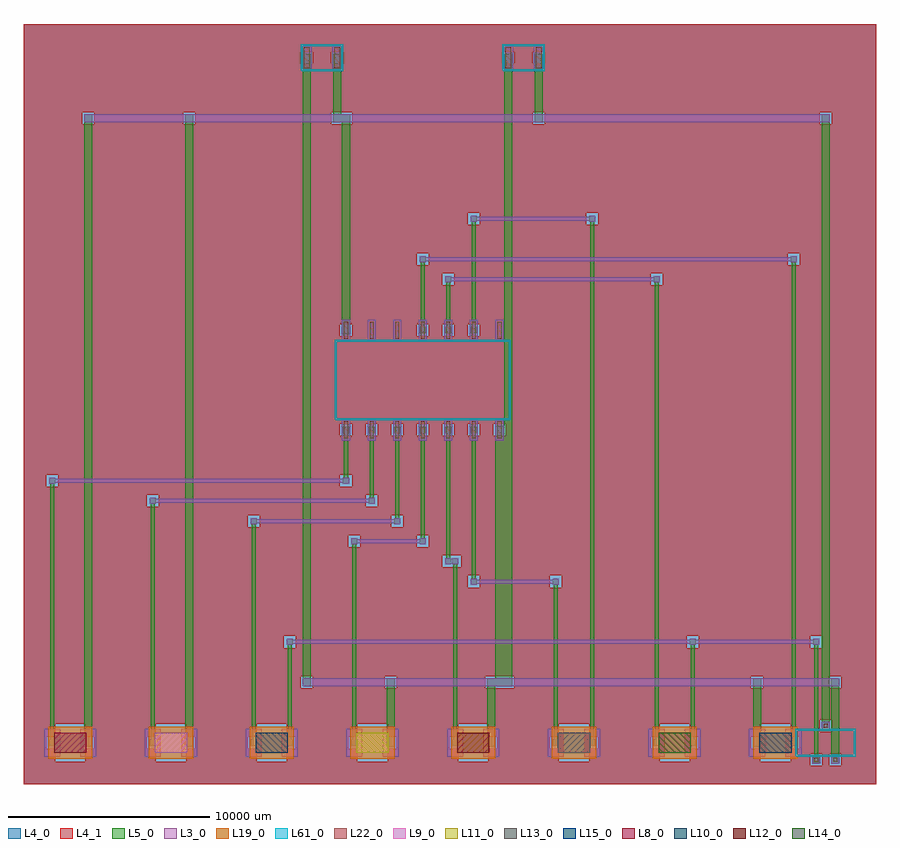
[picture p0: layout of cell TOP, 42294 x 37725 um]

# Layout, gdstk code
import gdstk
lib = gdstk.Library(unit=1e-6, precision=1e-09)
def R(c, l, rs):  # rectangles x0, y0, x1, y1
    for r in rs: c.add(gdstk.rectangle(r[:2], r[2:], *l))
def A(c, l, x, y, w, h, nx, ny, dx, dy):  # array of equal rectangles
    R(c, l, [(x+i*dx, y+j*dy, x+i*dx+w, y+j*dy+h) for i in range(nx) for j in range(ny)])
def P(c, l, *ps):  # polygons
    for p in ps: c.add(gdstk.Polygon(p, *l))
L3_0 = (3, 0)
L4_0 = (4, 0)
L4_1 = (4, 1)
L5_0 = (5, 0)
L8_0 = (8, 0)
L9_0 = (9, 0)
L10_0 = (10, 0)
L11_0 = (11, 0)
L12_0 = (12, 0)
L13_0 = (13, 0)
L14_0 = (14, 0)
L15_0 = (15, 0)
L19_0 = (19, 0)
L22_0 = (22, 0)
L61_0 = (61, 0)

ic_soic14 = lib.new_cell('IC_SOIC14')
A(ic_soic14, L3_0, -4010, -3000, 400, 1050, 7, 2, 1270, 4950)
A(ic_soic14, L22_0, -3910, -2900, 200, 850, 7, 2, 1270, 4950)
ic_soic14.add(gdstk.FlexPath([(-4325,-1950),(4325,-1950),(4325,1950),(-4325,1950),(-4325,-1950)], 100, ends="flush", simple_path=True, layer=61, datatype=0))  # L61_0

t_sot23 = lib.new_cell('T_SOT23')
R(t_sot23, L3_0, [(-675,-1050,-275,-650), (275,-1050,675,-650), (-200,650,200,1050)])
R(t_sot23, L22_0, [(-575,-950,-375,-750), (375,-950,575,-750), (-100,750,100,950)])
t_sot23.add(gdstk.FlexPath([(-1450,-650),(1450,-650),(1450,650),(-1450,650),(-1450,-650)], 100, ends="flush", simple_path=True, layer=61, datatype=0))  # L61_0

c_0805 = lib.new_cell('C_0805')
R(c_0805, L3_0, [(-1000,-625,-500,625), (500,-625,1000,625)])
R(c_0805, L22_0, [(-900,-525,-600,525), (600,-525,900,525)])
c_0805.add(gdstk.FlexPath([(-1000,-625),(1000,-625),(1000,625),(-1000,625),(-1000,-625)], 100, ends="flush", simple_path=True, layer=61, datatype=0))  # L61_0

c_r1 = lib.new_cell('R1')
R(c_r1, L3_0, [(-1294,-700,-494,700), (494,-700,1294,700)])
R(c_r1, L4_0, [(-594,-800,594,800)])
R(c_r1, L8_0, [(-794,-500,794,500)])
R(c_r1, L19_0, [(-1094,-800,1094,800)])
c_r1.add(gdstk.Label('R1', (-240,-200), layer=62, texttype=0))

c_r2 = lib.new_cell('R2')
R(c_r2, L3_0, [(-1306,-700,-506,700), (506,-700,1306,700)])
R(c_r2, L4_0, [(-606,-800,606,800)])
R(c_r2, L9_0, [(-806,-500,806,500)])
R(c_r2, L19_0, [(-1106,-800,1106,800)])
c_r2.add(gdstk.Label('R2', (-240,-200), layer=62, texttype=0))

c_r3 = lib.new_cell('R3')
R(c_r3, L3_0, [(-1294,-700,-494,700), (494,-700,1294,700)])
R(c_r3, L4_0, [(-594,-800,594,800)])
R(c_r3, L10_0, [(-794,-500,794,500)])
R(c_r3, L19_0, [(-1094,-800,1094,800)])
c_r3.add(gdstk.Label('R3', (-240,-200), layer=62, texttype=0))

c_r4 = lib.new_cell('R4')
R(c_r4, L3_0, [(-1306,-700,-506,700), (506,-700,1306,700)])
R(c_r4, L4_0, [(-606,-800,606,800)])
R(c_r4, L11_0, [(-806,-500,806,500)])
R(c_r4, L19_0, [(-1106,-800,1106,800)])
c_r4.add(gdstk.Label('R4', (-240,-200), layer=62, texttype=0))

c_r5 = lib.new_cell('R5')
R(c_r5, L3_0, [(-1294,-700,-494,700), (494,-700,1294,700)])
R(c_r5, L4_0, [(-594,-800,594,800)])
R(c_r5, L12_0, [(-794,-500,794,500)])
R(c_r5, L19_0, [(-1094,-800,1094,800)])
c_r5.add(gdstk.Label('R5', (-240,-200), layer=62, texttype=0))

c_r6 = lib.new_cell('R6')
R(c_r6, L3_0, [(-1306,-700,-506,700), (506,-700,1306,700)])
R(c_r6, L4_0, [(-606,-800,606,800)])
R(c_r6, L13_0, [(-806,-500,806,500)])
R(c_r6, L19_0, [(-1106,-800,1106,800)])
c_r6.add(gdstk.Label('R6', (-240,-200), layer=62, texttype=0))

c_r7 = lib.new_cell('R7')
R(c_r7, L3_0, [(-1294,-700,-494,700), (494,-700,1294,700)])
R(c_r7, L4_0, [(-594,-800,594,800)])
R(c_r7, L14_0, [(-794,-500,794,500)])
R(c_r7, L19_0, [(-1094,-800,1094,800)])
c_r7.add(gdstk.Label('R7', (-240,-200), layer=62, texttype=0))

c_r8 = lib.new_cell('R8')
R(c_r8, L3_0, [(-1306,-700,-506,700), (506,-700,1306,700)])
R(c_r8, L4_0, [(-606,-800,606,800)])
R(c_r8, L15_0, [(-806,-500,806,500)])
R(c_r8, L19_0, [(-1106,-800,1106,800)])
c_r8.add(gdstk.Label('R8', (-240,-200), layer=62, texttype=0))

top = lib.new_cell('TOP')
A(top, L3_0, -3960, -2625, 300, 300, 7, 1, 1270, 0)
A(top, L3_0, -150, 2325, 300, 300, 3, 1, 1270, 0)
R(top, L3_0, [(19375,-19000,19675,-18700), (20325,-19000,20625,-18700), (-18544,-18150,-18244,-17850), (-16756,-18150,-16456,-17850), (-13556,-18150,-13256,-17850), (-11744,-18150,-11444,-17850), (-8544,-18150,-8244,-17850), (-6756,-18150,-6456,-17850), (-3556,-18150,-3256,-17850), (-1744,-18150,-1444,-17850), (1456,-18150,1756,-17850), (3244,-18150,3544,-17850), (6444,-18150,6744,-17850), (8256,-18150,8556,-17850), (11456,-18150,11756,-17850), (13244,-18150,13544,-17850), (16444,-18150,16744,-17850), (18256,-18150,18556,-17850), (19850,-17300,20150,-17000), (-5900,-15150,-5600,-14850), (-1744,-15150,-1444,-14850), (3244,-15150,3544,-14850), (3660,-15150,3960,-14850), (4100,-15150,4400,-14850), (16444,-15150,16744,-14850), (20325,-15150,20625,-14850), (-6756,-13150,-6456,-12850), (13244,-13150,13544,-12850), (19375,-13150,19675,-12850), (2390,-10150,2690,-9850), (6444,-10150,6744,-9850), (1120,-9150,1420,-8850), (1456,-9150,1756,-8850), (-3556,-8150,-3256,-7850), (-150,-8150,150,-7850), (-8544,-7150,-8244,-6850), (-1420,-7150,-1120,-6850), (-13556,-6150,-13256,-5850), (-2690,-6150,-2390,-5850), (-18544,-5150,-18244,-4850), (-3960,-5150,-3660,-4850), (-3960,2325,-3660,2625), (1120,4850,1420,5150), (11456,4850,11756,5150), (-150,5850,150,6150), (18256,5850,18556,6150), (2390,7850,2690,8150), (8256,7850,8556,8150), (-16756,12850,-16456,13150), (-11744,12850,-11444,13150), (-4400,12850,-4100,13150), (-3960,12850,-3660,13150), (5600,12850,5900,13150), (19850,12850,20150,13150), (-5900,15850,-5600,16150), (-4400,15850,-4100,16150), (4100,15850,4400,16150), (5600,15850,5900,16150)])
A(top, L4_0, -3960, -2625, 300, 300, 7, 1, 1270, 0)
A(top, L4_0, -150, 2325, 300, 300, 3, 1, 1270, 0)
R(top, L4_0, [(-19794,-20050,22500,17675), (19375,-19000,19675,-18700), (20325,-19000,20625,-18700), (-18544,-18150,-18244,-17850), (-16756,-18150,-16456,-17850), (-13556,-18150,-13256,-17850), (-11744,-18150,-11444,-17850), (-8544,-18150,-8244,-17850), (-6756,-18150,-6456,-17850), (-3556,-18150,-3256,-17850), (-1744,-18150,-1444,-17850), (1456,-18150,1756,-17850), (3244,-18150,3544,-17850), (6444,-18150,6744,-17850), (8256,-18150,8556,-17850), (11456,-18150,11756,-17850), (13244,-18150,13544,-17850), (16444,-18150,16744,-17850), (18256,-18150,18556,-17850), (19850,-17300,20150,-17000), (-5900,-15150,-5600,-14850), (-1744,-15150,-1444,-14850), (3244,-15150,3544,-14850), (3660,-15150,3960,-14850), (4100,-15150,4400,-14850), (16444,-15150,16744,-14850), (20325,-15150,20625,-14850), (-6756,-13150,-6456,-12850), (13244,-13150,13544,-12850), (19375,-13150,19675,-12850), (2390,-10150,2690,-9850), (6444,-10150,6744,-9850), (1120,-9150,1420,-8850), (1456,-9150,1756,-8850), (-3556,-8150,-3256,-7850), (-150,-8150,150,-7850), (-8544,-7150,-8244,-6850), (-1420,-7150,-1120,-6850), (-13556,-6150,-13256,-5850), (-2690,-6150,-2390,-5850), (-18544,-5150,-18244,-4850), (-3960,-5150,-3660,-4850), (-3960,2325,-3660,2625), (1120,4850,1420,5150), (11456,4850,11756,5150), (-150,5850,150,6150), (18256,5850,18556,6150), (2390,7850,2690,8150), (8256,7850,8556,8150), (-16756,12850,-16456,13150), (-11744,12850,-11444,13150), (-4400,12850,-4100,13150), (-3960,12850,-3660,13150), (5600,12850,5900,13150), (19850,12850,20150,13150), (-5900,15850,-5600,16150), (-4400,15850,-4100,16150), (4100,15850,4400,16150), (5600,15850,5900,16150)])
R(top, L4_1, [(21178,-20050,22500,-18871), (18256,-18871,18535,-18300), (21178,-18871,22500,-17692), (-6756,-17700,-6577,-17692), (18256,-17700,18535,-17692), (-6577,-17692,-3934,-15334), (-1290,-17692,1353,-15334), (-19794,-15334,-14507,-10619), (-14507,-15334,-9220,-10619), (-5255,-15334,-3934,-14155), (-3934,-15334,-2612,-14155), (-2612,-15334,-1951,-14745), (-1290,-15334,1353,-12977), (6640,-15334,11926,-10619), (14570,-15334,15892,-14155), (21178,-15334,22500,-14155), (-2612,-14745,-1951,-14155), (-5255,-14155,-3934,-12977), (-3934,-14155,-2612,-12977), (-2612,-14155,-1290,-12977), (14570,-14155,15892,-12977), (15892,-14155,17213,-12977), (19857,-14155,21178,-12977), (21178,-14155,22500,-12977), (-3934,-12977,-1290,-10619), (-1290,-12977,1353,-10619), (1353,-12977,3996,-10619), (3996,-12977,6640,-10619), (14570,-12977,17213,-10619), (19857,-12977,22500,-10619), (-19794,-10619,-14507,-5903), (-9220,-10619,-6577,-8261), (-6577,-10619,-3934,-8261), (11926,-10619,22500,-1188), (2675,-9440,3996,-8261), (-7899,-8261,-6577,-7082), (-6577,-8261,-3934,-5903), (1353,-8261,3996,-5903), (3996,-8261,6640,-5903), (-7899,-7082,-6577,-5903), (-17151,-5903,-14507,-3545), (-1290,-5903,1353,-3545), (1353,-5903,3996,-3545), (3996,-5903,6640,-3545), (6640,-5903,11926,-1188), (-19794,-3545,-17151,-1188), (-17151,-3545,-14507,-1188), (-19794,-1188,-9220,8244), (-3934,-1188,-1290,1170), (-1290,-1188,1353,1170), (1353,-1188,3996,1170), (3996,-1188,6640,1170), (6640,-1188,11926,3528), (11926,-1188,17213,3528), (17213,-1188,22500,3528), (3996,1170,6640,3528), (-9220,3528,-3934,8244), (-3934,3528,-1290,5886), (6640,3528,9283,5886), (9283,3528,10605,4707), (11926,3528,17213,8244), (19857,3528,22500,5886), (9283,4707,10605,5886), (-3934,5886,-1290,8244), (9283,5886,11926,8244), (19857,5886,22500,8244), (11926,8244,17213,12959), (-9220,12959,-6577,15317), (1353,12959,3996,15317), (6640,12959,11926,17675), (11926,12959,17213,17675), (-9220,15317,-6577,17675), (-5255,15317,-4595,15907), (-5255,15907,-4595,16496), (-6577,16496,-5255,17675), (-5255,16496,-3934,17675), (3996,16496,5318,17675), (5318,16496,6640,17675)])
P(top, L4_1, [(-19794,-17692),(-18244,-17692),(-18244,-17700),(-18694,-17700),(-18694,-18300),(-18244,-18300),(-18244,-18950),(-17151,-18950),(-17151,-20050),(-19794,-20050)],
  [(-14507,-20050),(-17151,-20050),(-17151,-18950),(-16756,-18950),(-16756,-18300),(-16306,-18300),(-16306,-17700),(-16756,-17700),(-16756,-17692),(-14507,-17692)],
  [(-19794,-15334),(-17151,-15334),(-17151,-17050),(-18244,-17050),(-18244,-17692),(-19794,-17692)],
  [(-14507,-15334),(-14507,-17692),(-16756,-17692),(-16756,-17050),(-17151,-17050),(-17151,-15334)],
  [(-14507,-20050),(-14507,-17692),(-13256,-17692),(-13256,-17700),(-13706,-17700),(-13706,-18300),(-13256,-18300),(-13256,-18950),(-11864,-18950),(-11864,-20050)],
  [(-11864,-20050),(-11864,-18950),(-11744,-18950),(-11744,-18300),(-11294,-18300),(-11294,-17700),(-11744,-17700),(-11744,-17692),(-9220,-17692),(-9220,-20050)],
  [(-14507,-15334),(-11864,-15334),(-11864,-17050),(-13256,-17050),(-13256,-17692),(-14507,-17692)],
  [(-9220,-15334),(-9220,-17692),(-11744,-17692),(-11744,-17050),(-11864,-17050),(-11864,-15334)],
  [(-9220,-17692),(-8244,-17692),(-8244,-17700),(-8694,-17700),(-8694,-18300),(-8244,-18300),(-8244,-18950),(-6756,-18950),(-6756,-18300),(-6577,-18300),(-6577,-20050),(-9220,-20050)],
  [(-3934,-20050),(-6577,-20050),(-6577,-18300),(-6306,-18300),(-6306,-17700),(-6577,-17700),(-6577,-17692),(-3934,-17692)],
  [(-9220,-15334),(-6577,-15334),(-6577,-17692),(-6756,-17692),(-6756,-17050),(-8244,-17050),(-8244,-17692),(-9220,-17692)],
  [(-3934,-20050),(-3934,-17692),(-3256,-17692),(-3256,-17700),(-3706,-17700),(-3706,-18300),(-3256,-18300),(-3256,-18950),(-1744,-18950),(-1744,-18300),(-1294,-18300),(-1294,-17700),(-1744,-17700),(-1744,-17692),(-1290,-17692),(-1290,-20050)],
  [(1306,-18300),(1353,-18300),(1353,-20050),(-1290,-20050),(-1290,-17692),(1353,-17692),(1353,-17700),(1306,-17700)],
  [(-3934,-15334),(-1290,-15334),(-1290,-17692),(-1744,-17692),(-1744,-17050),(-3256,-17050),(-3256,-17692),(-3934,-17692)],
  [(-9220,-15334),(-9220,-12977),(-6906,-12977),(-6906,-13300),(-6577,-13300),(-6577,-15334)],
  [(-6577,-14745),(-6050,-14745),(-6050,-15300),(-5916,-15300),(-5916,-15334),(-6577,-15334)],
  [(-5255,-15334),(-5916,-15334),(-5916,-15300),(-5450,-15300),(-5450,-14745),(-5255,-14745)],
  [(-6577,-14155),(-5916,-14155),(-5916,-14700),(-6050,-14700),(-6050,-14745),(-6577,-14745)],
  [(-5255,-14155),(-5255,-14745),(-5450,-14745),(-5450,-14700),(-5916,-14700),(-5916,-14155)],
  [(-6577,-13300),(-6306,-13300),(-6306,-12977),(-5255,-12977),(-5255,-14155),(-6577,-14155)],
  [(-6577,-10619),(-6577,-12700),(-6906,-12700),(-6906,-12977),(-9220,-12977),(-9220,-10619)],
  [(-3934,-10619),(-3934,-12977),(-6306,-12977),(-6306,-12700),(-6577,-12700),(-6577,-10619)],
  [(-1951,-15334),(-1951,-14745),(-1894,-14745),(-1894,-15300),(-1294,-15300),(-1294,-14745),(-1290,-14745),(-1290,-15334)],
  [(-1290,-14155),(-1290,-14745),(-1294,-14745),(-1294,-14700),(-1894,-14700),(-1894,-14745),(-1951,-14745),(-1951,-14155)],
  [(-9220,-10619),(-14507,-10619),(-14507,-5903),(-13706,-5903),(-13706,-6300),(-13106,-6300),(-13106,-5903),(-9220,-5903)],
  [(-19794,-4724),(-18694,-4724),(-18694,-5300),(-18472,-5300),(-18472,-5903),(-19794,-5903)],
  [(-17151,-5903),(-18472,-5903),(-18472,-5300),(-18094,-5300),(-18094,-4724),(-17151,-4724)],
  [(-19794,-3545),(-18472,-3545),(-18472,-4700),(-18694,-4700),(-18694,-4724),(-19794,-4724)],
  [(-17151,-3545),(-17151,-4724),(-18094,-4724),(-18094,-4700),(-18472,-4700),(-18472,-3545)],
  [(-9220,-1188),(-9220,-5903),(-13106,-5903),(-13106,-5700),(-13706,-5700),(-13706,-5903),(-14507,-5903),(-14507,-1188)],
  [(-9220,-8261),(-9220,-7082),(-8694,-7082),(-8694,-7300),(-8094,-7300),(-8094,-7082),(-7899,-7082),(-7899,-8261)],
  [(-7899,-5903),(-7899,-7082),(-8094,-7082),(-8094,-6700),(-8694,-6700),(-8694,-7082),(-9220,-7082),(-9220,-5903)],
  [(-3934,-10619),(-3934,-8261),(-3706,-8261),(-3706,-8300),(-3106,-8300),(-3106,-8261),(-1290,-8261),(-1290,-10619)],
  [(1306,-8700),(970,-8700),(970,-9300),(1306,-9300),(1353,-9300),(1353,-10619),(-1290,-10619),(-1290,-8261),(-300,-8261),(-300,-8300),(300,-8300),(300,-8261),(1353,-8261),(1353,-8700)],
  [(-3934,-5903),(-2840,-5903),(-2840,-6300),(-2240,-6300),(-2240,-5903),(-1290,-5903),(-1290,-6700),(-1570,-6700),(-1570,-7300),(-1290,-7300),(-1290,-8261),(-3106,-8261),(-3106,-7700),(-3706,-7700),(-3706,-8261),(-3934,-8261)],
  [(1353,-5903),(1353,-8261),(300,-8261),(300,-7700),(-300,-7700),(-300,-8261),(-1290,-8261),(-1290,-7300),(-970,-7300),(-970,-6700),(-1290,-6700),(-1290,-5903)],
  [(-9220,-1188),(-3934,-1188),(-3934,-2175),(-4110,-2175),(-4110,-2775),(-3934,-2775),(-3934,-4700),(-4110,-4700),(-4110,-5300),(-3934,-5300),(-3934,-5903),(-9220,-5903)],
  [(-2240,-5903),(-2240,-5700),(-2840,-5700),(-2840,-5903),(-3934,-5903),(-3934,-5300),(-3510,-5300),(-3510,-4700),(-3934,-4700),(-3934,-3545),(-1290,-3545),(-1290,-5903)],
  [(-3510,-2775),(-3510,-2366),(-2840,-2366),(-2840,-2775),(-2612,-2775),(-2612,-3545),(-3934,-3545),(-3934,-2775)],
  [(-1570,-2775),(-1290,-2775),(-1290,-3545),(-2612,-3545),(-2612,-2775),(-2240,-2775),(-2240,-2366),(-1570,-2366)],
  [(-3510,-2175),(-3934,-2175),(-3934,-1188),(-2612,-1188),(-2612,-2175),(-2840,-2175),(-2840,-2366),(-3510,-2366)],
  [(-1290,-1188),(-1290,-2175),(-1570,-2175),(-1570,-2366),(-2240,-2366),(-2240,-2175),(-2612,-2175),(-2612,-1188)],
  [(-1290,-3545),(-1290,-2775),(-970,-2775),(-970,-2366),(-300,-2366),(-300,-2775),(31,-2775),(31,-3545)],
  [(970,-2775),(1353,-2775),(1353,-3545),(31,-3545),(31,-2775),(300,-2775),(300,-2366),(970,-2366)],
  [(-970,-2175),(-1290,-2175),(-1290,-1188),(31,-1188),(31,-2175),(-300,-2175),(-300,-2366),(-970,-2366)],
  [(970,-2366),(300,-2366),(300,-2175),(31,-2175),(31,-1188),(1353,-1188),(1353,-2175),(970,-2175)],
  [(1353,-18300),(1756,-18300),(1756,-18950),(3244,-18950),(3244,-18300),(3694,-18300),(3694,-17700),(3244,-17700),(3244,-17050),(1756,-17050),(1756,-17700),(1353,-17700),(1353,-15334),(6640,-15334),(6640,-17700),(6294,-17700),(6294,-18300),(6640,-18300),(6640,-20050),(1353,-20050)],
  [(11926,-17050),(11756,-17050),(11756,-17700),(11306,-17700),(11306,-18300),(11756,-18300),(11756,-18950),(11926,-18950),(11926,-20050),(6640,-20050),(6640,-18300),(6744,-18300),(6744,-18950),(8256,-18950),(8256,-18300),(8706,-18300),(8706,-17700),(8256,-17700),(8256,-17050),(6744,-17050),(6744,-17700),(6640,-17700),(6640,-15334),(11926,-15334)],
  [(1353,-15334),(1353,-12977),(3996,-12977),(3996,-14700),(3950,-14700),(3694,-14700),(3510,-14700),(3094,-14700),(3094,-15300),(3510,-15300),(3694,-15300),(3950,-15300),(3996,-15300),(3996,-15334)],
  [(6640,-15334),(3996,-15334),(3996,-15300),(4110,-15300),(4550,-15300),(4550,-14700),(4110,-14700),(3996,-14700),(3996,-12977),(6640,-12977)],
  [(11926,-18950),(13244,-18950),(13244,-18300),(13694,-18300),(13694,-17700),(13244,-17700),(13244,-17050),(11926,-17050),(11926,-15334),(17213,-15334),(17213,-17050),(16744,-17050),(16744,-17700),(16294,-17700),(16294,-18300),(16744,-18300),(16744,-18950),(17213,-18950),(17213,-20050),(11926,-20050)],
  [(17213,-18950),(18256,-18950),(18256,-18871),(18535,-18871),(18535,-20050),(17213,-20050)],
  [(19857,-20050),(18535,-20050),(18535,-18871),(19225,-18871),(19225,-19150),(19825,-19150),(19825,-18871),(19857,-18871)],
  [(18706,-18300),(18706,-17700),(18535,-17700),(18535,-17692),(19857,-17692),(19857,-18871),(19825,-18871),(19825,-18550),(19225,-18550),(19225,-18871),(18535,-18871),(18535,-18300)],
  [(19857,-18871),(20175,-18871),(20175,-19150),(20775,-19150),(20775,-18871),(21178,-18871),(21178,-20050),(19857,-20050)],
  [(19857,-17692),(21178,-17692),(21178,-18871),(20775,-18871),(20775,-18550),(20175,-18550),(20175,-18871),(19857,-18871)],
  [(18256,-17050),(17213,-17050),(17213,-15334),(19857,-15334),(19857,-16850),(19700,-16850),(19700,-17450),(19857,-17450),(19857,-17692),(18256,-17692)],
  [(22500,-15334),(22500,-17692),(19857,-17692),(19857,-17450),(20300,-17450),(20300,-16850),(19857,-16850),(19857,-15334)],
  [(11926,-15334),(11926,-12977),(13094,-12977),(13094,-13300),(13694,-13300),(13694,-12977),(14570,-12977),(14570,-15334)],
  [(15892,-14745),(16294,-14745),(16294,-15300),(16552,-15300),(16552,-15334),(15892,-15334)],
  [(17213,-15334),(16552,-15334),(16552,-15300),(16894,-15300),(16894,-14745),(17213,-14745)],
  [(15892,-14155),(16552,-14155),(16552,-14700),(16294,-14700),(16294,-14745),(15892,-14745)],
  [(17213,-14155),(17213,-14745),(16894,-14745),(16894,-14700),(16552,-14700),(16552,-14155)],
  [(14570,-10619),(14570,-12977),(13694,-12977),(13694,-12700),(13094,-12700),(13094,-12977),(11926,-12977),(11926,-10619)],
  [(17213,-15334),(17213,-12977),(19225,-12977),(19225,-13300),(19825,-13300),(19825,-12977),(19857,-12977),(19857,-15334)],
  [(19857,-14745),(20175,-14745),(20175,-15300),(20517,-15300),(20517,-15334),(19857,-15334)],
  [(21178,-15334),(20517,-15334),(20517,-15300),(20775,-15300),(20775,-14745),(21178,-14745)],
  [(19857,-14155),(20517,-14155),(20517,-14700),(20175,-14700),(20175,-14745),(19857,-14745)],
  [(21178,-14155),(21178,-14745),(20775,-14745),(20775,-14700),(20517,-14700),(20517,-14155)],
  [(17213,-10619),(19857,-10619),(19857,-12977),(19825,-12977),(19825,-12700),(19225,-12700),(19225,-12977),(17213,-12977)],
  [(1353,-10619),(1353,-9440),(2675,-9440),(2675,-9700),(2240,-9700),(2240,-10300),(2675,-10300),(2675,-10619)],
  [(3996,-10619),(2675,-10619),(2675,-10300),(2840,-10300),(2840,-9700),(2675,-9700),(2675,-9440),(3996,-9440)],
  [(1906,-8700),(1570,-8700),(1353,-8700),(1353,-8261),(2675,-8261),(2675,-9440),(1353,-9440),(1353,-9300),(1570,-9300),(1906,-9300)],
  [(6640,-9700),(6294,-9700),(6294,-10300),(6640,-10300),(6640,-10619),(3996,-10619),(3996,-8261),(6640,-8261)],
  [(11926,-10619),(6640,-10619),(6640,-10300),(6894,-10300),(6894,-9700),(6640,-9700),(6640,-5903),(11926,-5903)],
  [(1570,-2366),(2240,-2366),(2240,-2775),(2675,-2775),(2675,-3545),(1353,-3545),(1353,-2775),(1570,-2775)],
  [(3510,-2775),(3996,-2775),(3996,-3545),(2675,-3545),(2675,-2775),(2840,-2775),(2840,-2366),(3510,-2366)],
  [(1570,-2175),(1353,-2175),(1353,-1188),(2675,-1188),(2675,-2175),(2240,-2175),(2240,-2366),(1570,-2366)],
  [(3996,-1188),(3996,-2175),(3510,-2175),(3510,-2366),(2840,-2366),(2840,-2175),(2675,-2175),(2675,-1188)],
  [(6640,-1188),(6640,-3545),(3996,-3545),(3996,-2775),(4110,-2775),(4110,-2175),(3996,-2175),(3996,-1188)],
  [(-9220,-1188),(-9220,3528),(-3934,3528),(-3934,2775),(-4110,2775),(-4110,2175),(-3934,2175),(-3934,-1188)],
  [(-3934,2175),(-3510,2175),(-3510,2775),(-3934,2775),(-3934,3528),(-1290,3528),(-1290,1170),(-3934,1170)],
  [(-1290,1170),(-1290,2349),(-300,2349),(-300,2175),(31,2175),(31,1170)],
  [(970,2175),(1353,2175),(1353,1170),(31,1170),(31,2175),(300,2175),(300,2349),(970,2349)],
  [(-1290,3528),(31,3528),(31,2775),(-300,2775),(-300,2349),(-1290,2349)],
  [(970,2349),(300,2349),(300,2775),(31,2775),(31,3528),(1353,3528),(1353,2775),(970,2775)],
  [(970,4700),(1353,4700),(1353,3528),(-1290,3528),(-1290,5886),(-300,5886),(-300,5700),(300,5700),(300,5886),(1353,5886),(1353,5300),(970,5300)],
  [(1353,8244),(1353,5886),(300,5886),(300,6300),(-300,6300),(-300,5886),(-1290,5886),(-1290,8244)],
  [(-19794,8244),(-19794,12959),(-16906,12959),(-16906,12700),(-16306,12700),(-16306,12959),(-14507,12959),(-14507,8244)],
  [(-9220,8244),(-14507,8244),(-14507,12959),(-11894,12959),(-11894,12700),(-11294,12700),(-11294,12959),(-9220,12959)],
  [(-14507,17675),(-14507,12959),(-16306,12959),(-16306,13300),(-16906,13300),(-16906,12959),(-19794,12959),(-19794,17675)],
  [(-9220,17675),(-9220,12959),(-11294,12959),(-11294,13300),(-11894,13300),(-11894,12959),(-14507,12959),(-14507,17675)],
  [(-9220,8244),(-9220,12959),(-4550,12959),(-4550,12700),(-4110,12700),(-3950,12700),(-3934,12700),(-3934,8244)],
  [(-3934,8244),(-3934,12700),(-3510,12700),(-3510,12959),(1353,12959),(1353,8244)],
  [(-3934,13300),(-3950,13300),(-4110,13300),(-4550,13300),(-4550,12959),(-6577,12959),(-6577,15317),(-3934,15317)],
  [(-6577,15907),(-6050,15907),(-6050,15700),(-5916,15700),(-5916,15317),(-6577,15317)],
  [(-5255,15317),(-5916,15317),(-5916,15700),(-5450,15700),(-5450,15907),(-5255,15907)],
  [(-6577,16496),(-5916,16496),(-5916,16300),(-6050,16300),(-6050,15907),(-6577,15907)],
  [(-5255,16496),(-5255,15907),(-5450,15907),(-5450,16300),(-5916,16300),(-5916,16496)],
  [(-4595,15317),(-4595,15907),(-4550,15907),(-4550,15700),(-3950,15700),(-3950,15907),(-3934,15907),(-3934,15317)],
  [(-3934,16496),(-3934,15907),(-3950,15907),(-3950,16300),(-4550,16300),(-4550,15907),(-4595,15907),(-4595,16496)],
  [(1353,17675),(1353,12959),(-3510,12959),(-3510,13300),(-3934,13300),(-3934,17675)],
  [(1570,2349),(2240,2349),(2240,2175),(2675,2175),(2675,1170),(1353,1170),(1353,2175),(1570,2175)],
  [(3996,1170),(2675,1170),(2675,2175),(2840,2175),(2840,2349),(3996,2349)],
  [(1570,2775),(1353,2775),(1353,3528),(2675,3528),(2675,2775),(2240,2775),(2240,2349),(1570,2349)],
  [(3996,3528),(3996,2349),(2840,2349),(2840,2775),(2675,2775),(2675,3528)],
  [(1353,4700),(1570,4700),(1570,5300),(1353,5300),(1353,8244),(2240,8244),(2240,7700),(2840,7700),(2840,8244),(6640,8244),(6640,3528),(1353,3528)],
  [(10605,3528),(10605,4707),(11306,4707),(11306,4700),(11906,4700),(11906,4707),(11926,4707),(11926,3528)],
  [(11926,5886),(11926,4707),(11906,4707),(11906,5300),(11306,5300),(11306,4707),(10605,4707),(10605,5886)],
  [(8106,7700),(8706,7700),(8706,8244),(9283,8244),(9283,5886),(6640,5886),(6640,8244),(8106,8244)],
  [(17213,3528),(17213,5886),(18106,5886),(18106,5700),(18706,5700),(18706,5886),(19857,5886),(19857,3528)],
  [(17213,8244),(19857,8244),(19857,5886),(18706,5886),(18706,6300),(18106,6300),(18106,5886),(17213,5886)],
  [(2840,8244),(2840,8300),(2240,8300),(2240,8244),(1353,8244),(1353,12959),(5450,12959),(5450,12700),(6050,12700),(6050,12959),(6640,12959),(6640,8244)],
  [(11926,8244),(8706,8244),(8706,8300),(8106,8300),(8106,8244),(6640,8244),(6640,12959),(11926,12959)],
  [(6640,12959),(6050,12959),(6050,13300),(5450,13300),(5450,12959),(3996,12959),(3996,15317),(6640,15317)],
  [(1353,17675),(3996,17675),(3996,16300),(3950,16300),(3950,15700),(3996,15700),(3996,15317),(1353,15317)],
  [(3996,15317),(3996,15700),(4550,15700),(4550,16300),(3996,16300),(3996,16496),(5318,16496),(5318,15317)],
  [(5318,15907),(5450,15907),(5450,15700),(5979,15700),(5979,15317),(5318,15317)],
  [(6640,15317),(5979,15317),(5979,15700),(6050,15700),(6050,15907),(6640,15907)],
  [(5318,16496),(5979,16496),(5979,16300),(5450,16300),(5450,15907),(5318,15907)],
  [(6640,16496),(6640,15907),(6050,15907),(6050,16300),(5979,16300),(5979,16496)],
  [(17213,8244),(17213,12959),(19700,12959),(19700,12700),(20300,12700),(20300,12959),(22500,12959),(22500,8244)],
  [(22500,17675),(22500,12959),(20300,12959),(20300,13300),(19700,13300),(19700,12959),(17213,12959),(17213,17675)])
A(top, L5_0, -3960, -2625, 300, 300, 7, 1, 1270, 0)
A(top, L5_0, -150, 2325, 300, 300, 3, 1, 1270, 0)
R(top, L5_0, [(19375,-19000,19675,-18700), (20325,-19000,20625,-18700), (-18544,-18150,-18244,-17850), (-16756,-18150,-16456,-17850), (-13556,-18150,-13256,-17850), (-11744,-18150,-11444,-17850), (-8544,-18150,-8244,-17850), (-6756,-18150,-6456,-17850), (-3556,-18150,-3256,-17850), (-1744,-18150,-1444,-17850), (1456,-18150,1756,-17850), (3244,-18150,3544,-17850), (6444,-18150,6744,-17850), (8256,-18150,8556,-17850), (11456,-18150,11756,-17850), (13244,-18150,13544,-17850), (16444,-18150,16744,-17850), (18256,-18150,18556,-17850), (19850,-17300,20150,-17000), (-5900,-15150,-5600,-14850), (-1744,-15150,-1444,-14850), (3244,-15150,3544,-14850), (3660,-15150,3960,-14850), (4100,-15150,4400,-14850), (16444,-15150,16744,-14850), (20325,-15150,20625,-14850), (-6756,-13150,-6456,-12850), (13244,-13150,13544,-12850), (19375,-13150,19675,-12850), (2390,-10150,2690,-9850), (6444,-10150,6744,-9850), (1120,-9150,1420,-8850), (1456,-9150,1756,-8850), (-3556,-8150,-3256,-7850), (-150,-8150,150,-7850), (-8544,-7150,-8244,-6850), (-1420,-7150,-1120,-6850), (-13556,-6150,-13256,-5850), (-2690,-6150,-2390,-5850), (-18544,-5150,-18244,-4850), (-3960,-5150,-3660,-4850), (-3960,2325,-3660,2625), (1120,4850,1420,5150), (11456,4850,11756,5150), (-150,5850,150,6150), (18256,5850,18556,6150), (2390,7850,2690,8150), (8256,7850,8556,8150), (-16756,12850,-16456,13150), (-11744,12850,-11444,13150), (-4400,12850,-4100,13150), (-3960,12850,-3660,13150), (5600,12850,5900,13150), (19850,12850,20150,13150), (-5900,15850,-5600,16150), (-4400,15850,-4100,16150), (4100,15850,4400,16150), (5600,15850,5900,16150)])
top.add(gdstk.FlexPath([(-16606,13000),(20000,13000)], 400, ends="round", simple_path=True, layer=3, datatype=0))  # L3_0
top.add(gdstk.FlexPath([(-3810,2475),(-3810,13000)], 400, ends="round", simple_path=True, layer=5, datatype=0))  # L5_0
top.add(gdstk.FlexPath([(-4250,16000),(-4250,13000)], 400, ends="round", simple_path=True, layer=5, datatype=0))  # L5_0
top.add(gdstk.FlexPath([(5750,16000),(5750,13000)], 400, ends="round", simple_path=True, layer=5, datatype=0))  # L5_0
top.add(gdstk.FlexPath([(20000,-17150),(20000,13000)], 400, ends="round", simple_path=True, layer=5, datatype=0))  # L5_0
top.add(gdstk.FlexPath([(-16606,-18000),(-16606,13000)], 400, ends="round", simple_path=True, layer=5, datatype=0))  # L5_0
top.add(gdstk.FlexPath([(-11594,-18000),(-11594,13000)], 400, ends="round", simple_path=True, layer=5, datatype=0))  # L5_0
top.add(gdstk.FlexPath([(-5750,-15000),(20475,-15000)], 400, ends="round", simple_path=True, layer=3, datatype=0))  # L3_0
top.add(gdstk.FlexPath([(3810,-2475),(3810,-15000)], 400, ends="round", simple_path=True, layer=5, datatype=0))  # L5_0
top.add(gdstk.FlexPath([(-5750,16000),(-5750,-15000)], 400, ends="round", simple_path=True, layer=5, datatype=0))  # L5_0
top.add(gdstk.FlexPath([(4250,16000),(4250,-15000)], 400, ends="round", simple_path=True, layer=5, datatype=0))  # L5_0
top.add(gdstk.FlexPath([(20475,-18850),(20475,-15000)], 400, ends="round", simple_path=True, layer=5, datatype=0))  # L5_0
top.add(gdstk.FlexPath([(-1594,-18000),(-1594,-15000)], 400, ends="round", simple_path=True, layer=5, datatype=0))  # L5_0
top.add(gdstk.FlexPath([(3394,-18000),(3394,-15000)], 400, ends="round", simple_path=True, layer=5, datatype=0))  # L5_0
top.add(gdstk.FlexPath([(16594,-18000),(16594,-15000)], 400, ends="round", simple_path=True, layer=5, datatype=0))  # L5_0
top.add(gdstk.FlexPath([(-6606,-13000),(19525,-13000)], 200, ends="round", simple_path=True, layer=3, datatype=0))  # L3_0
top.add(gdstk.FlexPath([(19525,-18850),(19525,-13000)], 200, ends="round", simple_path=True, layer=5, datatype=0))  # L5_0
top.add(gdstk.FlexPath([(-6606,-18000),(-6606,-13000)], 200, ends="round", simple_path=True, layer=5, datatype=0))  # L5_0
top.add(gdstk.FlexPath([(13394,-18000),(13394,-13000)], 200, ends="round", simple_path=True, layer=5, datatype=0))  # L5_0
top.add(gdstk.FlexPath([(-18394,-5000),(-3810,-5000)], 200, ends="round", simple_path=True, layer=3, datatype=0))  # L3_0
top.add(gdstk.FlexPath([(-3810,-2475),(-3810,-5000)], 200, ends="round", simple_path=True, layer=5, datatype=0))  # L5_0
top.add(gdstk.FlexPath([(-18394,-18000),(-18394,-5000)], 200, ends="round", simple_path=True, layer=5, datatype=0))  # L5_0
top.add(gdstk.FlexPath([(-13406,-6000),(-2540,-6000)], 200, ends="round", simple_path=True, layer=3, datatype=0))  # L3_0
top.add(gdstk.FlexPath([(-2540,-2475),(-2540,-6000)], 200, ends="round", simple_path=True, layer=5, datatype=0))  # L5_0
top.add(gdstk.FlexPath([(-13406,-18000),(-13406,-6000)], 200, ends="round", simple_path=True, layer=5, datatype=0))  # L5_0
top.add(gdstk.FlexPath([(-8394,-7000),(-1270,-7000)], 200, ends="round", simple_path=True, layer=3, datatype=0))  # L3_0
top.add(gdstk.FlexPath([(-1270,-2475),(-1270,-7000)], 200, ends="round", simple_path=True, layer=5, datatype=0))  # L5_0
top.add(gdstk.FlexPath([(-8394,-18000),(-8394,-7000)], 200, ends="round", simple_path=True, layer=5, datatype=0))  # L5_0
top.add(gdstk.FlexPath([(-3406,-8000),(0,-8000)], 200, ends="round", simple_path=True, layer=3, datatype=0))  # L3_0
top.add(gdstk.FlexPath([(0,-2475),(0,-8000)], 200, ends="round", simple_path=True, layer=5, datatype=0))  # L5_0
top.add(gdstk.FlexPath([(-3406,-18000),(-3406,-8000)], 200, ends="round", simple_path=True, layer=5, datatype=0))  # L5_0
top.add(gdstk.FlexPath([(1270,-9000),(1606,-9000)], 200, ends="round", simple_path=True, layer=3, datatype=0))  # L3_0
top.add(gdstk.FlexPath([(1270,-2475),(1270,-9000)], 200, ends="round", simple_path=True, layer=5, datatype=0))  # L5_0
top.add(gdstk.FlexPath([(1606,-18000),(1606,-9000)], 200, ends="round", simple_path=True, layer=5, datatype=0))  # L5_0
top.add(gdstk.FlexPath([(2540,-10000),(6594,-10000)], 200, ends="round", simple_path=True, layer=3, datatype=0))  # L3_0
top.add(gdstk.FlexPath([(2540,-2475),(2540,-10000)], 200, ends="round", simple_path=True, layer=5, datatype=0))  # L5_0
top.add(gdstk.FlexPath([(6594,-18000),(6594,-10000)], 200, ends="round", simple_path=True, layer=5, datatype=0))  # L5_0
top.add(gdstk.FlexPath([(1270,5000),(11606,5000)], 200, ends="round", simple_path=True, layer=3, datatype=0))  # L3_0
top.add(gdstk.FlexPath([(1270,2475),(1270,5000)], 200, ends="round", simple_path=True, layer=5, datatype=0))  # L5_0
top.add(gdstk.FlexPath([(11606,-18000),(11606,5000)], 200, ends="round", simple_path=True, layer=5, datatype=0))  # L5_0
top.add(gdstk.FlexPath([(0,6000),(18406,6000)], 200, ends="round", simple_path=True, layer=3, datatype=0))  # L3_0
top.add(gdstk.FlexPath([(0,2475),(0,6000)], 200, ends="round", simple_path=True, layer=5, datatype=0))  # L5_0
top.add(gdstk.FlexPath([(18406,-18000),(18406,6000)], 200, ends="round", simple_path=True, layer=5, datatype=0))  # L5_0
top.add(gdstk.FlexPath([(2540,8000),(8406,8000)], 200, ends="round", simple_path=True, layer=3, datatype=0))  # L3_0
top.add(gdstk.FlexPath([(2540,2475),(2540,8000)], 200, ends="round", simple_path=True, layer=5, datatype=0))  # L5_0
top.add(gdstk.FlexPath([(8406,-18000),(8406,8000)], 200, ends="round", simple_path=True, layer=5, datatype=0))  # L5_0
top.add(gdstk.Reference(ic_soic14, (0,0)))
top.add(gdstk.Reference(t_sot23, (20000,-18000)))
top.add(gdstk.Reference(c_0805, (-5000,16000)))
top.add(gdstk.Reference(c_0805, (5000,16000)))
top.add(gdstk.Reference(c_r1, (-17500,-18000)))
top.add(gdstk.Reference(c_r2, (-12500,-18000)))
top.add(gdstk.Reference(c_r3, (-7500,-18000)))
top.add(gdstk.Reference(c_r4, (-2500,-18000)))
top.add(gdstk.Reference(c_r5, (2500,-18000)))
top.add(gdstk.Reference(c_r6, (7500,-18000)))
top.add(gdstk.Reference(c_r7, (12500,-18000)))
top.add(gdstk.Reference(c_r8, (17500,-18000)))

lib.write_gds('TOP.gds')
